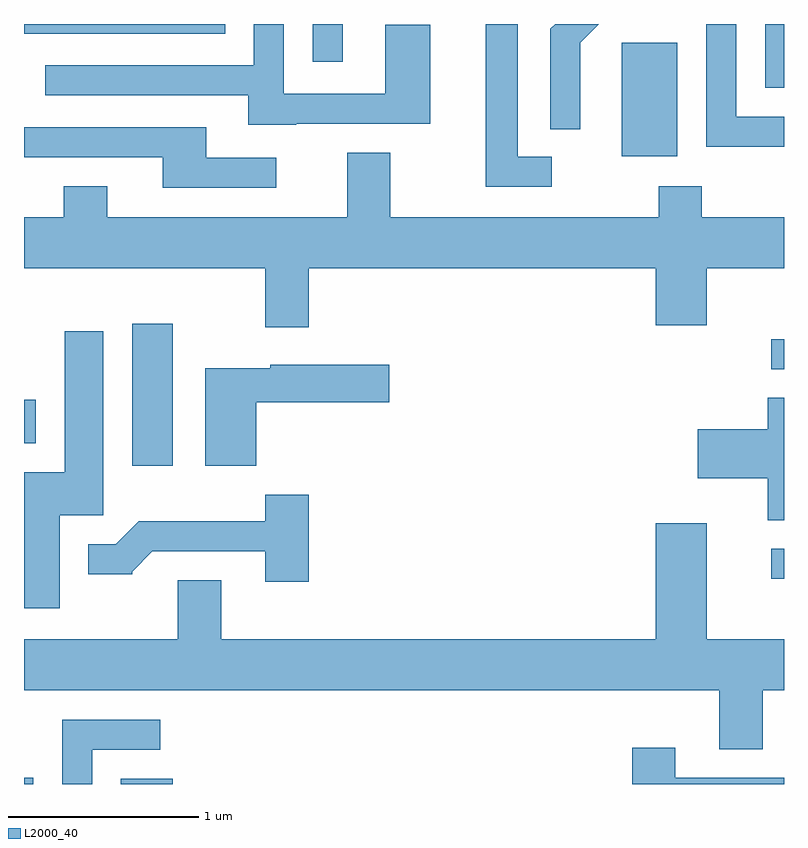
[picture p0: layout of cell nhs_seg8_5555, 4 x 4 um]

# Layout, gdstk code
import gdstk
lib = gdstk.Library(unit=1e-6, precision=1e-09)
def R(c, l, rs):  # rectangles x0, y0, x1, y1
    for r in rs: c.add(gdstk.rectangle(r[:2], r[2:], *l))
def P(c, l, *ps):  # polygons
    for p in ps: c.add(gdstk.Polygon(p, *l))
L2000_40 = (2000, 40)

nhs_seg8_5555 = lib.new_cell('nhs_seg8_5555')
R(nhs_seg8_5555, L2000_40, [(351.611,1860.342,351.659,1860.374), (352.121,1860.342,352.394,1860.369), (355.543,1861.421,355.611,1861.579), (352.181,1862.016,352.394,1862.764), (351.611,1862.136,351.674,1862.364), (355.543,1862.526,355.611,1862.684), (354.756,1863.646,355.049,1864.244), (355.511,1864.006,355.611,1864.342), (353.131,1864.143,353.289,1864.342), (351.611,1864.291,352.669,1864.342)])
P(nhs_seg8_5555, L2000_40, [(355.611,1863.854),(355.359,1863.854),(355.359,1864.342),(355.201,1864.342),(355.201,1863.696),(355.611,1863.696)],
  [(354.539,1864.244),(354.637,1864.342),(354.406,1864.342),(354.381,1864.317),(354.381,1863.788),(354.539,1863.788)],
  [(353.045,1863.816),(353.749,1863.816),(353.749,1864.339),(353.511,1864.339),(353.511,1863.974),(352.979,1863.974),(352.979,1864.342),(352.821,1864.342),(352.821,1864.124),(351.723,1864.124),(351.723,1863.966),(352.791,1863.966),(352.791,1863.811),(353.045,1863.811)],
  [(354.388,1863.644),(354.209,1863.644),(354.209,1864.342),(354.041,1864.342),(354.041,1863.486),(354.388,1863.486)],
  [(352.938,1863.639),(352.569,1863.639),(352.569,1863.799),(351.611,1863.799),(351.611,1863.641),(352.341,1863.641),(352.341,1863.481),(352.938,1863.481)],
  [(352.881,1862.746),(353.109,1862.746),(353.109,1863.056),(354.936,1863.056),(354.936,1862.756),(355.204,1862.756),(355.204,1863.056),(355.611,1863.056),(355.611,1863.324),(355.179,1863.324),(355.179,1863.489),(354.951,1863.489),(354.951,1863.324),(353.539,1863.324),(353.539,1863.664),(353.311,1863.664),(353.311,1863.324),(352.049,1863.324),(352.049,1863.489),(351.821,1863.489),(351.821,1863.324),(351.611,1863.324),(351.611,1863.056),(352.881,1863.056)],
  [(351.799,1861.756),(352.029,1861.756),(352.029,1862.724),(351.826,1862.724),(351.826,1861.984),(351.611,1861.984),(351.611,1861.266),(351.799,1861.266)],
  [(352.834,1862.351),(353.534,1862.351),(353.534,1862.549),(352.906,1862.549),(352.906,1862.529),(352.566,1862.529),(352.566,1862.016),(352.834,1862.016)],
  [(355.611,1862.374),(355.526,1862.374),(355.526,1862.209),(355.156,1862.209),(355.156,1861.951),(355.526,1861.951),(355.526,1861.731),(355.611,1861.731)],
  [(353.109,1861.864),(352.881,1861.864),(352.881,1861.724),(352.214,1861.724),(352.094,1861.604),(351.948,1861.604),(351.948,1861.446),(352.18,1861.446),(352.18,1861.46),(352.287,1861.566),(352.881,1861.566),(352.881,1861.406),(353.109,1861.406)],
  [(355.499,1860.836),(355.611,1860.836),(355.611,1861.104),(355.204,1861.104),(355.204,1861.714),(354.936,1861.714),(354.936,1861.104),(352.649,1861.104),(352.649,1861.414),(352.421,1861.414),(352.421,1861.104),(351.611,1861.104),(351.611,1860.836),(355.271,1860.836),(355.271,1860.526),(355.499,1860.526)],
  [(351.969,1860.521),(352.328,1860.521),(352.328,1860.679),(351.811,1860.679),(351.811,1860.342),(351.969,1860.342)],
  [(355.611,1860.374),(355.039,1860.374),(355.039,1860.534),(354.811,1860.534),(354.811,1860.342),(355.611,1860.342)])

lib.write_gds('nhs_seg8_5555.gds')
